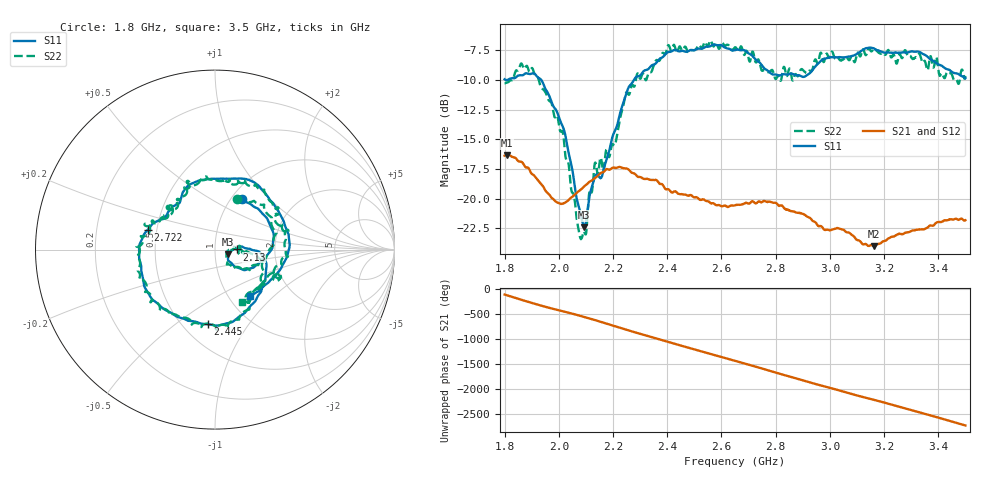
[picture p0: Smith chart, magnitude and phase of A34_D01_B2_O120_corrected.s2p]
! Created with skrf 1.9.0 (http://scikit-rf.org).
# Hz S RI R 50.0
!freq ReS11 ImS11 ReS21 ImS21 ReS12 ImS12 ReS22 ImS22
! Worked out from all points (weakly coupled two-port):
!   1601 points, 1.8 GHz to 3.5 GHz, reference 50 ohm
!   highest |S21| = -16.33 dB at 1.807 GHz (marker M1); lowest = -24.0 dB at 3.162 GHz (marker M2)
!   lowest |S11| = -22.4 dB at 2.093 GHz (marker M3), VSWR 1.16, Z = 57.7 - j2.75 ohm
!   |S11| at or under -10 dB: 1.805966 GHz to 1.80937 GHz (3.403 MHz wide, 0.188 % of centre); 1.936 GHz to 2.277 GHz (341.3 MHz wide, 16.2 % of centre)
!   |S22| runs from -23.4 to -6.7 dB; largest |S21 - S12| = 0.0029
!   S11 on the Smith chart (normalised r, x): 1.8 GHz: 1.12, +0.70; 2.13 GHz: 1.28, +0.00; 2.445 GHz: 0.66, -0.66; 2.722 GHz: 0.45, +0.12; 3.5 GHz: 1.26, -0.72
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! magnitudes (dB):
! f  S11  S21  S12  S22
! 1.8 GHz  -9.9  -16.4  -16.4  -10.3
! 1.807 GHz  -10.0  -16.3  -16.4  -10.2
! 1.859 GHz  -9.6  -16.9  -17.0  -8.6
! 1.901 GHz  -9.4  -17.9  -17.9  -9.0
! 1.969 GHz  -11.6  -19.8  -19.8  -11.8
! 2.021 GHz  -14.3  -20.4  -20.4  -15.7
! 2.084 GHz  -21.6  -19.2  -19.1  -23.3
! 2.093 GHz  -22.4  -19.0  -19.0  -22.8
! 2.13 GHz  -18.4  -18.3  -18.3  -17.4
! 2.16 GHz  -18.0  -17.8  -17.7  -17.2
! 2.208 GHz  -14.2  -17.4  -17.4  -15.4
! 2.259 GHz  -10.5  -17.6  -17.6  -11.2
! 2.367 GHz  -8.3  -18.6  -18.6  -8.4
! 2.445 GHz  -7.6  -19.6  -19.6  -7.2
! 2.65 GHz  -7.5  -20.6  -20.5  -7.2
! 2.722 GHz  -8.2  -20.3  -20.3  -8.2
! 2.812 GHz  -9.6  -20.6  -20.5  -9.7
! 2.934 GHz  -9.2  -21.8  -21.8  -9.2
! 3.162 GHz  -7.3  -24.0  -24.0  -7.3
! 3.217 GHz  -7.7  -23.3  -23.3  -7.5
! 3.329 GHz  -7.6  -22.6  -22.6  -7.8
! 3.5 GHz  -9.8  -21.8  -21.8  -9.6
